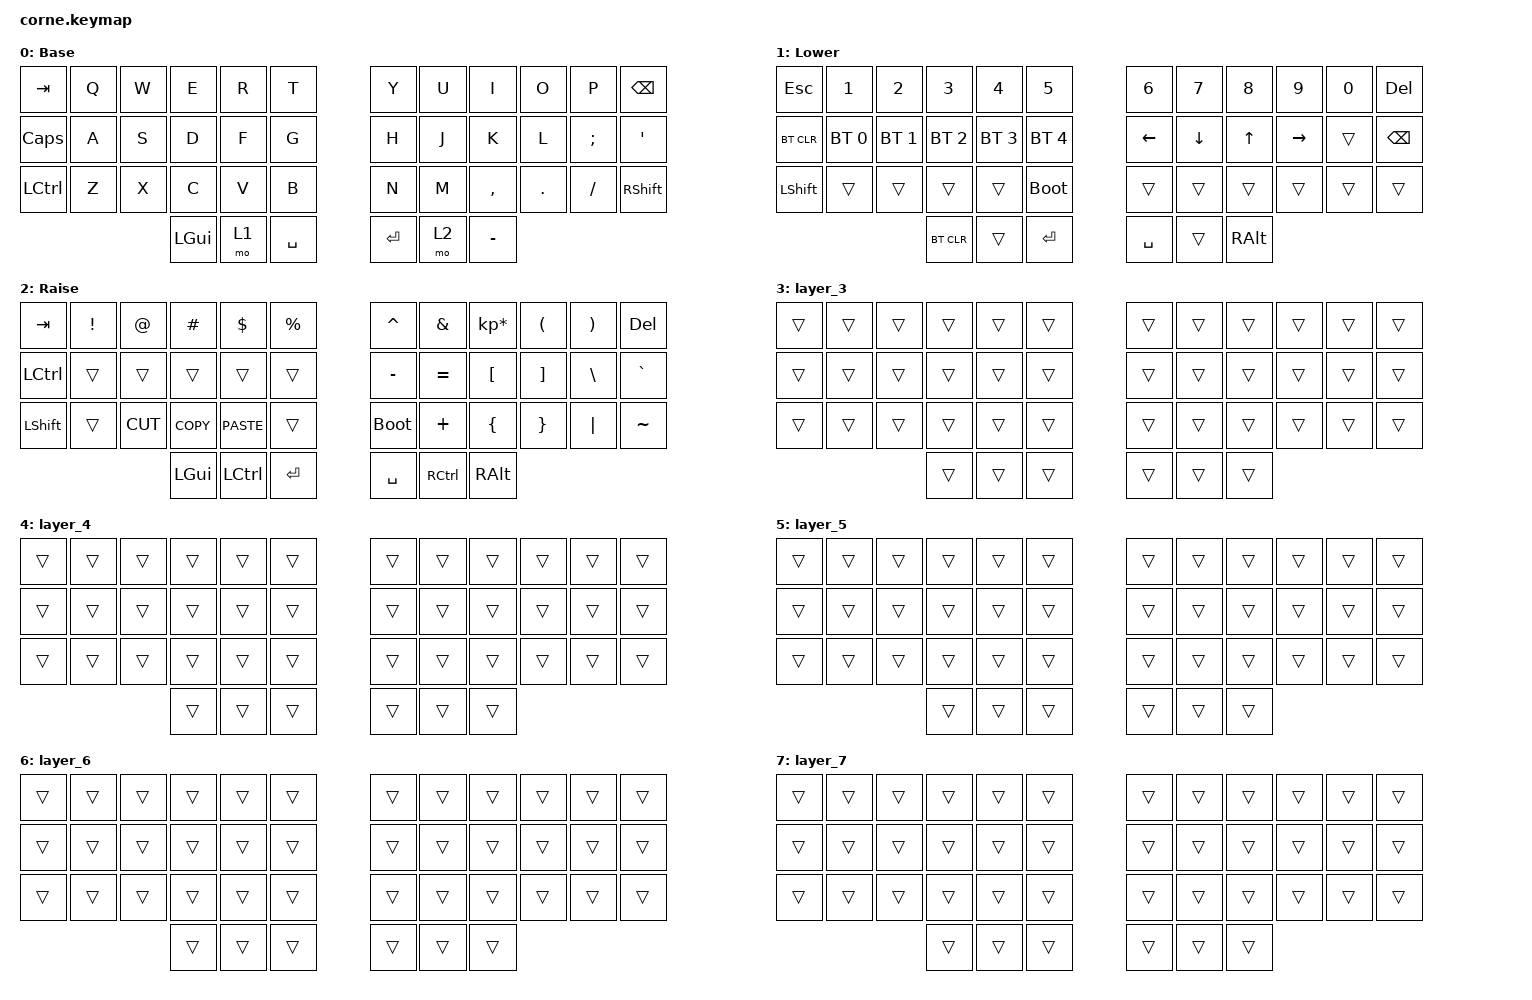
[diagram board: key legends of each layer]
/*
 * Copyright (c) 2020 The ZMK Contributors
 *
 * SPDX-License-Identifier: MIT
 *
 */

#include <behaviors.dtsi>
#include <dt-bindings/zmk/bt.h>
#include <dt-bindings/zmk/keys.h>

/ {
    keymap {
        compatible = "zmk,keymap";

        default_layer {
            // -----------------------------------------------------------------------------------------
            // |  TAB |  Q  |  W  |  E  |  R  |  T  |   |  Y  |  U   |  I  |  O  |  P  | BKSP |
            // | CTRL |  A  |  S  |  D  |  F  |  G  |   |  H  |  J   |  K  |  L  |  ;  |  '   |
            // | SHFT |  Z  |  X  |  C  |  V  |  B  |   |  N  |  M   |  ,  |  .  |  /  | ESC  |
            //                    | GUI | LWR | SPC |   | ENT | RSE  | ALT |

            label = "Base";
            bindings = <
&kp TAB           &kp Q  &kp W  &kp E     &kp R  &kp T        &kp Y    &kp U  &kp I      &kp O    &kp P     &kp BSPC
&kp CAPSLOCK      &kp A  &kp S  &kp D     &kp F  &kp G        &kp H    &kp J  &kp K      &kp L    &kp SEMI  &kp SQT
&kp LEFT_CONTROL  &kp Z  &kp X  &kp C     &kp V  &kp B        &kp N    &kp M  &kp COMMA  &kp DOT  &kp FSLH  &kp RIGHT_SHIFT
                                &kp LGUI  &mo 1  &kp SPACE    &kp RET  &mo 2  &kp MINUS
            >;
        };

        lower_layer {
            // -----------------------------------------------------------------------------------------
            // |  TAB |  1  |  2  |  3  |  4  |  5  |   |  6  |  7  |  8  |  9  |  0  | BKSP |
            // | BTCLR| BT1 | BT2 | BT3 | BT4 | BT5 |   | LFT | DWN |  UP | RGT |     |      |
            // | SHFT |     |     |     |     |     |   |     |     |     |     |     |      |
            //                    |BTCLR|     | SPC |   | ENT |     | ALT |

            label = "Lower";
            bindings = <
&kp ESCAPE  &kp N1        &kp N2        &kp N3        &kp N4        &kp N5          &kp N6     &kp N7    &kp N8    &kp N9     &kp N0  &kp DEL
&bt BT_CLR  &bt BT_SEL 0  &bt BT_SEL 1  &bt BT_SEL 2  &bt BT_SEL 3  &bt BT_SEL 4    &kp LEFT   &kp DOWN  &kp UP    &kp RIGHT  &trans  &kp BACKSPACE
&kp LSHFT   &trans        &trans        &trans        &trans        &bootloader     &trans     &trans    &trans    &trans     &trans  &trans
                                        &bt BT_CLR    &trans        &kp ENTER       &kp SPACE  &trans    &kp RALT
            >;
        };

        raise_layer {
            // -----------------------------------------------------------------------------------------
            // |  TAB |  !  |  @  |  #  |  $  |  %  |   |  ^  |  &  |  *  |  (  |  )  | BKSP |
            // | CTRL |     |     |     |     |     |   |  -  |  =  |  [  |  ]  |  \  |  `   |
            // | SHFT |     |     |     |     |     |   |  _  |  +  |  {  |  }  | "|" |  ~   |
            //                    | GUI |     | SPC |   | ENT |     | ALT |

            label = "Raise";
            bindings = <
&kp TAB    &kp EXCL  &kp AT     &kp HASH    &kp DLLR          &kp PRCNT    &kp CARET    &kp AMPS           &kp KP_MULTIPLY  &kp LPAR  &kp RPAR  &kp DELETE
&kp LCTRL  &trans    &trans     &trans      &trans            &trans       &kp MINUS    &kp EQUAL          &kp LBKT         &kp RBKT  &kp BSLH  &kp GRAVE
&kp LSHFT  &trans    &kp K_CUT  &kp K_COPY  &kp K_PASTE       &trans       &bootloader  &kp PLUS           &kp LBRC         &kp RBRC  &kp PIPE  &kp TILDE
                                &kp LGUI    &kp LEFT_CONTROL  &kp ENTER    &kp SPACE    &kp RIGHT_CONTROL  &kp RALT
            >;
        };

        layer_3 {
            bindings = <
&trans  &trans  &trans  &trans  &trans  &trans    &trans  &trans  &trans  &trans  &trans  &trans
&trans  &trans  &trans  &trans  &trans  &trans    &trans  &trans  &trans  &trans  &trans  &trans
&trans  &trans  &trans  &trans  &trans  &trans    &trans  &trans  &trans  &trans  &trans  &trans
                        &trans  &trans  &trans    &trans  &trans  &trans
            >;
        };

        layer_4 {
            bindings = <
&trans  &trans  &trans  &trans  &trans  &trans    &trans  &trans  &trans  &trans  &trans  &trans
&trans  &trans  &trans  &trans  &trans  &trans    &trans  &trans  &trans  &trans  &trans  &trans
&trans  &trans  &trans  &trans  &trans  &trans    &trans  &trans  &trans  &trans  &trans  &trans
                        &trans  &trans  &trans    &trans  &trans  &trans
            >;
        };

        layer_5 {
            bindings = <
&trans  &trans  &trans  &trans  &trans  &trans    &trans  &trans  &trans  &trans  &trans  &trans
&trans  &trans  &trans  &trans  &trans  &trans    &trans  &trans  &trans  &trans  &trans  &trans
&trans  &trans  &trans  &trans  &trans  &trans    &trans  &trans  &trans  &trans  &trans  &trans
                        &trans  &trans  &trans    &trans  &trans  &trans
            >;
        };

        layer_6 {
            bindings = <
&trans  &trans  &trans  &trans  &trans  &trans    &trans  &trans  &trans  &trans  &trans  &trans
&trans  &trans  &trans  &trans  &trans  &trans    &trans  &trans  &trans  &trans  &trans  &trans
&trans  &trans  &trans  &trans  &trans  &trans    &trans  &trans  &trans  &trans  &trans  &trans
                        &trans  &trans  &trans    &trans  &trans  &trans
            >;
        };

        layer_7 {
            bindings = <
&trans  &trans  &trans  &trans  &trans  &trans    &trans  &trans  &trans  &trans  &trans  &trans
&trans  &trans  &trans  &trans  &trans  &trans    &trans  &trans  &trans  &trans  &trans  &trans
&trans  &trans  &trans  &trans  &trans  &trans    &trans  &trans  &trans  &trans  &trans  &trans
                        &trans  &trans  &trans    &trans  &trans  &trans
            >;
        };
    };
};
